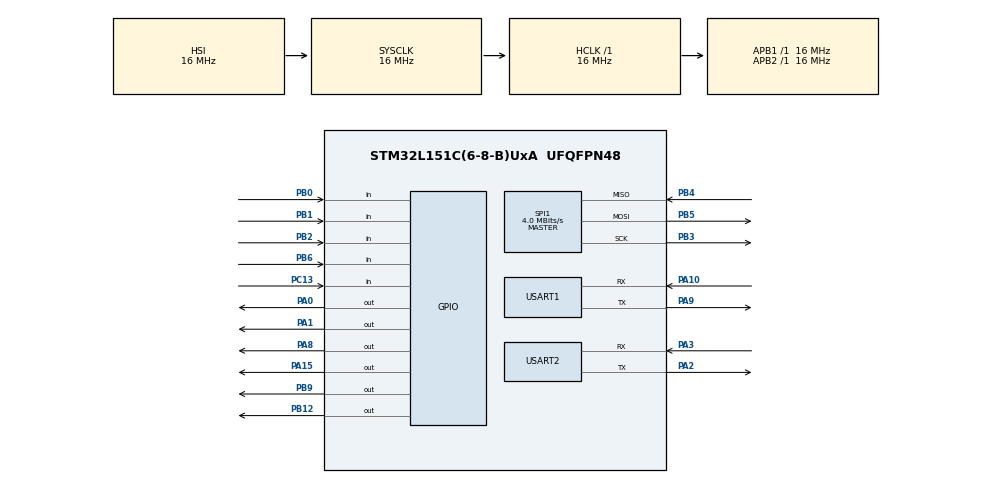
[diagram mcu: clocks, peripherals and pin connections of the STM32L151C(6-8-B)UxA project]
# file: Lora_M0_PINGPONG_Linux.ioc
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Mcu.Family=STM32L1
Mcu.Name=STM32L151C(6-8-B)UxA
Mcu.Package=UFQFPN48
NVIC.PriorityGroup=NVIC_PRIORITYGROUP_4
NVIC.USART2_IRQn=true\:0\:0\:false\:false\:true\:true\:true
PA0-WKUP1.PinState=GPIO_PIN_SET
PA0-WKUP1.Signal=GPIO_Output
PA1.PinState=GPIO_PIN_SET
PA1.Signal=GPIO_Output
PA10.Mode=Asynchronous
PA10.Signal=USART1_RX
PA13.Signal=SYS_JTMS-SWDIO
PA14.Signal=SYS_JTCK-SWCLK
PA15.PinState=GPIO_PIN_SET
PA15.Signal=GPIO_Output
PA2.Mode=Asynchronous
PA2.Signal=USART2_TX
PA3.Mode=Asynchronous
PA3.Signal=USART2_RX
PA8.Signal=GPIO_Output
PA9.Mode=Asynchronous
PA9.Signal=USART1_TX
PB0.Signal=GPIO_Input
PB1.Signal=GPIO_Input
PB12.PinState=GPIO_PIN_SET
PB12.Signal=GPIO_Output
PB2.Signal=GPIO_Input
PB3.Mode=Full_Duplex_Master
PB3.Signal=SPI1_SCK
PB4.Mode=Full_Duplex_Master
PB4.Signal=SPI1_MISO
PB5.Mode=Full_Duplex_Master
PB5.Signal=SPI1_MOSI
PB6.Signal=GPIO_Input
PB9.PinState=GPIO_PIN_SET
PB9.Signal=GPIO_Output
PC13-WKUP2.Signal=GPIO_Input
ProjectManager.HeapSize=0x200
ProjectManager.StackSize=0x400
ProjectManager.TargetToolchain=Makefile
RCC.AHBFreq_Value=16000000
RCC.APB1Freq_Value=16000000
RCC.APB1TimFreq_Value=16000000
RCC.APB2Freq_Value=16000000
RCC.APB2TimFreq_Value=16000000
RCC.HCLKFreq_Value=16000000
RCC.HSE_VALUE=24000000
RCC.HSI_VALUE=16000000
RCC.LSE_VALUE=32768
RCC.MSI_VALUE=2097000
RCC.SYSCLKFreq_VALUE=16000000
RCC.SYSCLKSource=RCC_SYSCLKSOURCE_HSI
RCC.VCOOutputFreq_Value=48000000
SPI1.BaudRatePrescaler=SPI_BAUDRATEPRESCALER_4
SPI1.CalculateBaudRate=4.0 MBits/s
SPI1.Direction=SPI_DIRECTION_2LINES
SPI1.Mode=SPI_MODE_MASTER
SPI1.VirtualType=VM_MASTER
USART1.VirtualMode=VM_ASYNC
USART2.VirtualMode=VM_ASYNC
board=custom

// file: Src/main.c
/* USER CODE BEGIN Header */
/**
  ******************************************************************************
  * @file           : main.c
  * @brief          : Main program body
  ******************************************************************************
  * @attention
  *
  * <h2><center>&copy; Copyright (c) 2019 STMicroelectronics.
  * All rights reserved.</center></h2>
  *
  * This software component is licensed by ST under BSD 3-Clause license,
  * the "License"; You may not use this file except in compliance with the
  * License. You may obtain a copy of the License at:
  *                        opensource.org/licenses/BSD-3-Clause
  *
  ******************************************************************************
  */
/* USER CODE END Header */

#include "main.h"
#include "spi.h"
#include "usart.h"
#include "gpio.h"

/* USER CODE BEGIN Includes */

#include <stdio.h>
#include <string.h>

//lora
#include "platform.h"
#include "radio.h"
#include "sx1276-Hal.h"
#include "sx1276-LoRa.h"
#include "sx1276-LoRaMisc.h"
/* USER CODE END Includes */

/* USER CODE BEGIN PD */

#define MASTER
//#define SLAVE
#define BUFFERSIZE 10

/* USER CODE END PD */

/* USER CODE BEGIN PV */
uint8_t RegVersion = 0;

#ifdef MASTER
uint8_t enable_master = true;
#else
uint8_t enable_master = false;
#endif

uint32_t Master_Tx_num = 0;
uint32_t Master_Rx_num = 0;
uint32_t Slave_Tx_num = 0;
uint32_t Slave_Rx_num = 0;

uint16_t buffer_size = BUFFERSIZE;
uint8_t buffer_rev[BUFFERSIZE] = {0};
uint8_t ping_msg [] = "PING";
uint8_t pong_msg [] = "PONG";

//lora设备初始化的返回值
tRadioDriver *Radio = NULL;

//USART2
uint8_t pData [128] = "";

/* USER CODE END PV */

void SystemClock_Config(void);

/* USER CODE BEGIN 0 */

void led_init()//LED初始化为三色
{
	HAL_GPIO_WritePin(GPIOB, GPIO_PIN_12, GPIO_PIN_RESET);//LED_B
	HAL_GPIO_WritePin(GPIOA, GPIO_PIN_0, GPIO_PIN_RESET);//LED_R
	HAL_GPIO_WritePin(GPIOA, GPIO_PIN_1, GPIO_PIN_RESET);//LED_G
}
void led_send()//发送时：蓝灯
{
	HAL_GPIO_WritePin(GPIOB, GPIO_PIN_12, GPIO_PIN_RESET);
	HAL_GPIO_WritePin(GPIOA, GPIO_PIN_0, GPIO_PIN_SET);
	HAL_GPIO_WritePin(GPIOA, GPIO_PIN_1, GPIO_PIN_SET);
}

void led_rev()//接收时：绿灯
{
	HAL_GPIO_WritePin(GPIOB, GPIO_PIN_12, GPIO_PIN_SET);
	HAL_GPIO_WritePin(GPIOA, GPIO_PIN_0, GPIO_PIN_SET);
	HAL_GPIO_WritePin(GPIOA, GPIO_PIN_1, GPIO_PIN_RESET);
}
void led_debug()//debug：红灯
{
	HAL_GPIO_WritePin(GPIOB, GPIO_PIN_12, GPIO_PIN_SET);
	HAL_GPIO_WritePin(GPIOA, GPIO_PIN_0, GPIO_PIN_RESET);
	HAL_GPIO_WritePin(GPIOA, GPIO_PIN_1, GPIO_PIN_SET);
}

void master_task()
{
	switch(Radio->Process())
	{
		case RF_RX_DONE:
			led_debug();
			Radio->GetRxPacket(buffer_rev, &buffer_size);
			printf("master_task: -%ld-rev  = -%s-\r\n", Master_Rx_num+1,  buffer_rev);
			if(strncmp((const char *)buffer_rev, "PONG", strlen((const char *)buffer_rev)) == 0)
			{
				Master_Rx_num++;
				Radio->SetTxPacket(ping_msg, strlen((const char *)ping_msg));
				led_send();
				HAL_Delay(500);
			}
			break;
		case RF_TX_DONE:
				Radio->StartRx();
				led_rev();
				Master_Tx_num++;
				HAL_Delay(500);
			break;
		default:
			break;
	}
}

void slave_task()
{
	switch(Radio->Process())
	{
		case RF_RX_DONE:
			led_debug();
			Radio->GetRxPacket(buffer_rev, &buffer_size);
			printf("slave_task:-%ld- rev  = -%s-\r\n", Slave_Rx_num+1 ,  buffer_rev);
			if(strncmp((const char *)buffer_rev, "PING", strlen((const char *)buffer_rev)) == 0)
			{
				Slave_Rx_num++;
				Radio->SetTxPacket(pong_msg, strlen((const char *)pong_msg));
				led_send();
				HAL_Delay(500);
			}
			break;
		case RF_TX_DONE:
				Radio->StartRx();
				led_rev();
				Slave_Tx_num++;
				HAL_Delay(500);
			break;
		default:
			break;
	}
}

/* USER CODE END 0 */

int main(void)
{

  /* MCU Configuration--------------------------------------------------------*/

  /* Reset of all peripherals, Initializes the Flash interface and the Systick. */
  HAL_Init();

  /* Configure the system clock */
  SystemClock_Config();

  /* Initialize all configured peripherals */
  MX_GPIO_Init();
  MX_SPI1_Init();
  MX_USART1_UART_Init();
  MX_USART2_UART_Init();

  /* Infinite loop */
  /* USER CODE BEGIN WHILE */

	led_init();
	printf("Hello World!\r\n");
	SX1276Read( REG_LR_VERSION, &RegVersion );
	if(RegVersion != 0x12)
	{
	printf("get RegVersion error, RegVersion = %#x\r\n", RegVersion);
	}
	else
	{
	printf("get RegVersion success, RegVersion = %#x\r\n", RegVersion);
	}
	//sx1278初始化
	Radio = RadioDriverInit();
	Radio->Init();

#ifdef MASTER
	Radio->SetTxPacket(ping_msg, strlen((const char *)ping_msg));
	printf("MASTER sent ping\r\n");
#else
	Radio->StartRx();
	printf("SLAVE start rev\r\n");
#endif
	while (1)
	{
		if(enable_master)
		{
			master_task();
		}
		else
		{
			slave_task();
		}
    /* USER CODE END WHILE */

	}
}

void SystemClock_Config(void)
{
  RCC_OscInitTypeDef RCC_OscInitStruct = {0};
  RCC_ClkInitTypeDef RCC_ClkInitStruct = {0};

  /** Configure the main internal regulator output voltage
  */
  __HAL_PWR_VOLTAGESCALING_CONFIG(PWR_REGULATOR_VOLTAGE_SCALE1);
  /** Initializes the CPU, AHB and APB busses clocks
  */
  RCC_OscInitStruct.OscillatorType = RCC_OSCILLATORTYPE_HSI;
  RCC_OscInitStruct.HSIState = RCC_HSI_ON;
  RCC_OscInitStruct.HSICalibrationValue = RCC_HSICALIBRATION_DEFAULT;
  RCC_OscInitStruct.PLL.PLLState = RCC_PLL_NONE;
  if (HAL_RCC_OscConfig(&RCC_OscInitStruct) != HAL_OK)
  {
    Error_Handler();
  }
  /** Initializes the CPU, AHB and APB busses clocks
  */
  RCC_ClkInitStruct.ClockType = RCC_CLOCKTYPE_HCLK|RCC_CLOCKTYPE_SYSCLK
                              |RCC_CLOCKTYPE_PCLK1|RCC_CLOCKTYPE_PCLK2;
  RCC_ClkInitStruct.SYSCLKSource = RCC_SYSCLKSOURCE_HSI;
  RCC_ClkInitStruct.AHBCLKDivider = RCC_SYSCLK_DIV1;
  RCC_ClkInitStruct.APB1CLKDivider = RCC_HCLK_DIV1;
  RCC_ClkInitStruct.APB2CLKDivider = RCC_HCLK_DIV1;

  if (HAL_RCC_ClockConfig(&RCC_ClkInitStruct, FLASH_LATENCY_0) != HAL_OK)
  {
    Error_Handler();
  }
}

/* USER CODE BEGIN 4 */

int _write (int fd, char *pBuffer, int size)
{
for (int i = 0; i < size; i++)
{
while((USART1->SR&0X40)==0);//等待上一次串口数据发送完成
USART1->DR = (uint8_t) pBuffer[i]; //写DR,串口1将发送数据
}
return size;
}

/* USER CODE END 4 */

void Error_Handler(void)
{
}

/************************ (C) COPYRIGHT STMicroelectronics *****END OF FILE****/
